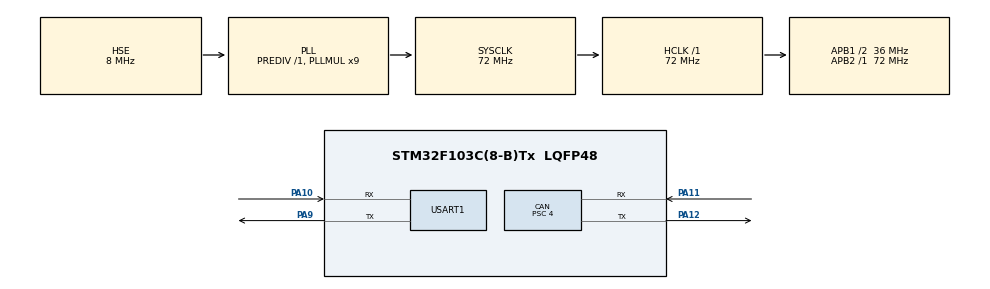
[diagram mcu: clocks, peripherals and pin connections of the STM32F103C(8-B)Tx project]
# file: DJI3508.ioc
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CAN.BS1=CAN_BS1_5TQ
CAN.BS2=CAN_BS2_3TQ
CAN.CalculateBaudRate=1000000
CAN.CalculateTimeBit=1000
CAN.CalculateTimeQuantum=111.11111111111111
CAN.Prescaler=4
Dma.Request0=USART1_RX
Dma.Request1=USART1_TX
Dma.USART1_RX.0.Direction=DMA_PERIPH_TO_MEMORY
Dma.USART1_RX.0.Instance=DMA1_Channel5
Dma.USART1_RX.0.MemDataAlignment=DMA_MDATAALIGN_BYTE
Dma.USART1_RX.0.MemInc=DMA_MINC_ENABLE
Dma.USART1_RX.0.Mode=DMA_NORMAL
Dma.USART1_RX.0.PeriphDataAlignment=DMA_PDATAALIGN_BYTE
Dma.USART1_RX.0.PeriphInc=DMA_PINC_DISABLE
Dma.USART1_RX.0.Priority=DMA_PRIORITY_LOW
Dma.USART1_TX.1.Direction=DMA_MEMORY_TO_PERIPH
Dma.USART1_TX.1.Instance=DMA1_Channel4
Dma.USART1_TX.1.MemDataAlignment=DMA_MDATAALIGN_BYTE
Dma.USART1_TX.1.MemInc=DMA_MINC_ENABLE
Dma.USART1_TX.1.Mode=DMA_NORMAL
Dma.USART1_TX.1.PeriphDataAlignment=DMA_PDATAALIGN_BYTE
Dma.USART1_TX.1.PeriphInc=DMA_PINC_DISABLE
Dma.USART1_TX.1.Priority=DMA_PRIORITY_LOW
Mcu.Family=STM32F1
Mcu.Name=STM32F103C(8-B)Tx
Mcu.Package=LQFP48
NVIC.CAN1_RX1_IRQn=true\:0\:0\:false\:false\:true\:true\:true\:true
NVIC.CAN1_SCE_IRQn=true\:0\:0\:false\:false\:true\:true\:true\:true
NVIC.DMA1_Channel4_IRQn=true\:0\:0\:false\:false\:true\:false\:true\:true
NVIC.DMA1_Channel5_IRQn=true\:0\:0\:false\:false\:true\:false\:true\:true
NVIC.PriorityGroup=NVIC_PRIORITYGROUP_4
NVIC.TIM2_IRQn=true\:0\:0\:false\:false\:true\:true\:true\:true
NVIC.USART1_IRQn=true\:0\:0\:false\:false\:true\:true\:true\:true
NVIC.USB_HP_CAN1_TX_IRQn=true\:0\:0\:false\:false\:true\:true\:true\:true
NVIC.USB_LP_CAN1_RX0_IRQn=true\:0\:0\:false\:false\:true\:true\:true\:true
PA10.Mode=Asynchronous
PA10.Signal=USART1_RX
PA11.Mode=CAN_Activate
PA11.Signal=CAN_RX
PA12.Mode=CAN_Activate
PA12.Signal=CAN_TX
PA13.Mode=Serial_Wire
PA13.Signal=SYS_JTMS-SWDIO
PA14.Mode=Serial_Wire
PA14.Signal=SYS_JTCK-SWCLK
PA9.Mode=Asynchronous
PA9.Signal=USART1_TX
PD0-OSC_IN.Mode=HSE-External-Oscillator
PD0-OSC_IN.Signal=RCC_OSC_IN
PD1-OSC_OUT.Mode=HSE-External-Oscillator
PD1-OSC_OUT.Signal=RCC_OSC_OUT
ProjectManager.HeapSize=0x200
ProjectManager.StackSize=0x400
ProjectManager.TargetToolchain=MDK-ARM V5.32
RCC.AHBFreq_Value=72000000
RCC.APB1CLKDivider=RCC_HCLK_DIV2
RCC.APB1Freq_Value=36000000
RCC.APB1TimFreq_Value=72000000
RCC.APB2Freq_Value=72000000
RCC.APB2TimFreq_Value=72000000
RCC.HCLKFreq_Value=72000000
RCC.PLLMUL=RCC_PLL_MUL9
RCC.PLLSourceVirtual=RCC_PLLSOURCE_HSE
RCC.SYSCLKFreq_VALUE=72000000
RCC.SYSCLKSource=RCC_SYSCLKSOURCE_PLLCLK
RCC.USBFreq_Value=72000000
TIM2.Period=10000-1
TIM2.Prescaler=7200-1
USART1.VirtualMode=VM_ASYNC
VP_TIM2_VS_ClockSourceINT.Mode=Internal
board=custom

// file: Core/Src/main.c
/* USER CODE BEGIN Header */
/**
 ******************************************************************************
 * @file           : main.c
 * @brief          : Main program body
 ******************************************************************************
 * @attention
 *
 * Copyright (c) 2025 STMicroelectronics.
 * All rights reserved.
 *
 * This software is licensed under terms that can be found in the LICENSE file
 * in the root directory of this software component.
 * If no LICENSE file comes with this software, it is provided AS-IS.
 *
 ******************************************************************************
 */
/* USER CODE END Header */
#include "main.h"
#include "can.h"
#include "dma.h"
#include "tim.h"
#include "usart.h"
#include "gpio.h"

/* USER CODE BEGIN Includes */
#include "motor_control.h"
#include <string.h>
#include <stdio.h>
/* USER CODE END Includes */

/* USER CODE BEGIN PD */
#define CAN_TX_ID 0x200

#define CAN_RX_ID_BASE 0x200
#define CAN_RX_ID_1 0x201
#define CAN_RX_ID_2 0x202
#define CAN_RX_ID_3 0x203
#define CAN_RX_ID_4 0x204

#define TASK_SPEED 0
#define TASK_ANGLE 1
/* USER CODE END PD */

/* USER CODE BEGIN PV */
int count=0;
char speed_data[50];
char angle_data[50];
int16_t set_speed = 1000;
float set_angle = 8191.0*2;
int task_now=TASK_ANGLE;
/* USER CODE END PV */

void SystemClock_Config(void);
/* USER CODE BEGIN PFP */

void HAL_TIM_PeriodElapsedCallback(TIM_HandleTypeDef *htim)
{
	if (htim == &htim2)
	{
		count++;
		if(count>=3)
		{
			//set_speed=(set_speed==1000?5000:1000);
			set_angle=(set_angle==8191.0*2?-8191.0*2:8191.0*2);
			count=0;
		}
	}
}

void HAL_CAN_RxFifo0MsgPendingCallback(CAN_HandleTypeDef *hcan)
{
    CAN_RxHeaderTypeDef rx_header;
    uint8_t rx_data[8];
    if (HAL_CAN_GetRxMessage(hcan, CAN_RX_FIFO0, &rx_header, rx_data) == HAL_OK) {
        Motor_CAN_Rx_Handler(hcan, &rx_header, rx_data);

    }
}
void CAN_Filter_Config(void)
{
  CAN_FilterTypeDef can_filter;

  /* 配置CAN滤波器 - 接收所有电机反馈帧 (0x201-0x204) */
  can_filter.FilterBank = 0;
  can_filter.FilterMode = CAN_FILTERMODE_IDMASK;
  can_filter.FilterScale = CAN_FILTERSCALE_32BIT;
  can_filter.FilterIdHigh = 0x0000; // ID高16位
  can_filter.FilterIdLow = 0x0000;
  can_filter.FilterMaskIdHigh = 0x0000; // 屏蔽位高16位
  can_filter.FilterMaskIdLow = 0x0000;
  can_filter.FilterFIFOAssignment = CAN_RX_FIFO0;
  can_filter.FilterActivation = ENABLE;
	can_filter.SlaveStartFilterBank = 14;

  if (HAL_CAN_ConfigFilter(&hcan, &can_filter) != HAL_OK)
  {
    Error_Handler();
  }
	HAL_CAN_Start(&hcan);
  HAL_CAN_ActivateNotification(&hcan, CAN_IT_RX_FIFO0_MSG_PENDING);
}

/* USER CODE END PFP */

int main(void)
{

  /* MCU Configuration--------------------------------------------------------*/

  /* Reset of all peripherals, Initializes the Flash interface and the Systick. */
  HAL_Init();

  /* Configure the system clock */
  SystemClock_Config();

  /* Initialize all configured peripherals */
  MX_GPIO_Init();
  MX_DMA_Init();
  MX_CAN_Init();
  MX_USART1_UART_Init();
  MX_TIM2_Init();
  /* USER CODE BEGIN 2 */
  CAN_Filter_Config();
	Motor_Init(1);
	HAL_TIM_Base_Start_IT(&htim2);
  /* USER CODE END 2 */

  /* Infinite loop */
  /* USER CODE BEGIN WHILE */
  while (1)
  {
    //Motor_Set_Speed(1,set_speed);
		//int16_t actual_speed = Motor_Get_Speed(1);
    //int16_t target_speed = Motor_Get_Target_Speed(1);
		//sprintf(speed_data,"%d,%d\n",actual_speed,target_speed);
		//HAL_UART_Transmit_DMA(&huart1, (uint8_t*)speed_data,strlen(speed_data));
		Motor_Set_Speed(1,2000);
		Motor_Set_Angle(1,set_angle);
		/*

    if (HAL_GetTick() - last_display_time > 10)
    {
      Motor_Muti_PID_Update(1);

      Motor_CAN_Tx_Handler(&hcan);
      last_display_time = HAL_GetTick();
    }*/
		float actual_angle = Motor_Get_Angle(1) * (360.0 / 8192);
		float target_angle = Motor_Get_Target_Angle(1)* (360.0 / 8192);
		sprintf(angle_data,"%.2f,%.2f\n",actual_angle,target_angle);
		HAL_UART_Transmit_DMA(&huart1, (uint8_t*)angle_data,strlen(angle_data));
		HAL_Delay(1);
    uint32_t last_display_time = 0;
		if (HAL_GetTick() - last_display_time > 10)
    {
      Motor_Muti_PID_Update(1);

      Motor_CAN_Tx_Handler(&hcan);
			Motor_Set_Last_Angle(1);
      last_display_time = HAL_GetTick();
    }
    /* USER CODE END WHILE */

  }
}

void SystemClock_Config(void)
{
  RCC_OscInitTypeDef RCC_OscInitStruct = {0};
  RCC_ClkInitTypeDef RCC_ClkInitStruct = {0};

  /** Initializes the RCC Oscillators according to the specified parameters
  * in the RCC_OscInitTypeDef structure.
  */
  RCC_OscInitStruct.OscillatorType = RCC_OSCILLATORTYPE_HSE;
  RCC_OscInitStruct.HSEState = RCC_HSE_ON;
  RCC_OscInitStruct.HSEPredivValue = RCC_HSE_PREDIV_DIV1;
  RCC_OscInitStruct.HSIState = RCC_HSI_ON;
  RCC_OscInitStruct.PLL.PLLState = RCC_PLL_ON;
  RCC_OscInitStruct.PLL.PLLSource = RCC_PLLSOURCE_HSE;
  RCC_OscInitStruct.PLL.PLLMUL = RCC_PLL_MUL9;
  if (HAL_RCC_OscConfig(&RCC_OscInitStruct) != HAL_OK)
  {
    Error_Handler();
  }

  /** Initializes the CPU, AHB and APB buses clocks
  */
  RCC_ClkInitStruct.ClockType = RCC_CLOCKTYPE_HCLK|RCC_CLOCKTYPE_SYSCLK
                              |RCC_CLOCKTYPE_PCLK1|RCC_CLOCKTYPE_PCLK2;
  RCC_ClkInitStruct.SYSCLKSource = RCC_SYSCLKSOURCE_PLLCLK;
  RCC_ClkInitStruct.AHBCLKDivider = RCC_SYSCLK_DIV1;
  RCC_ClkInitStruct.APB1CLKDivider = RCC_HCLK_DIV2;
  RCC_ClkInitStruct.APB2CLKDivider = RCC_HCLK_DIV1;

  if (HAL_RCC_ClockConfig(&RCC_ClkInitStruct, FLASH_LATENCY_2) != HAL_OK)
  {
    Error_Handler();
  }
}

void Error_Handler(void)
{
  __disable_irq();
  while (1)
  {
  }
}
